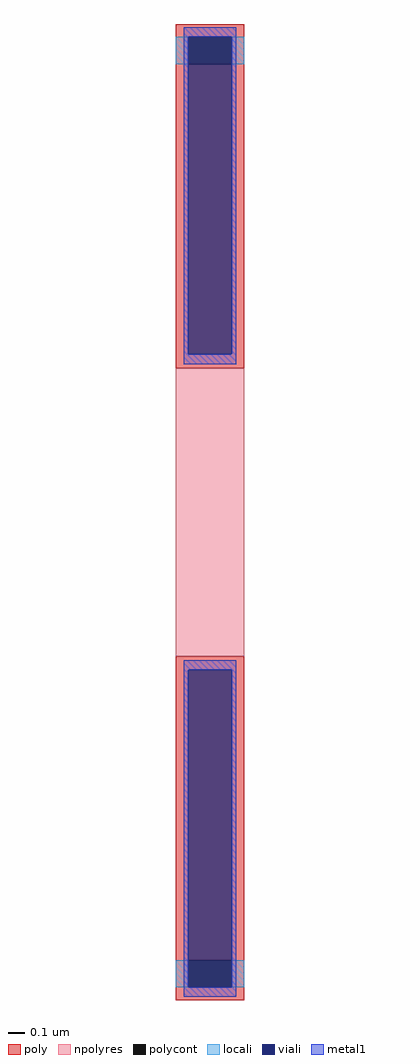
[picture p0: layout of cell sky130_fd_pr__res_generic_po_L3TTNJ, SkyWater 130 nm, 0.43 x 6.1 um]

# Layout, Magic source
magic
tech sky130A
magscale 1 2
<< poly >>
rect -43 594 43 610
rect -43 560 -27 594
rect 27 560 43 594
rect -43 180 43 560
rect -43 -560 43 -180
rect -43 -594 -27 -560
rect 27 -594 43 -560
rect -43 -610 43 -594
<< polycont >>
rect -27 560 27 594
rect -27 -594 27 -560
<< npolyres >>
rect -43 -180 43 180
<< locali >>
rect -43 560 -27 594
rect 27 560 43 594
rect -43 -594 -27 -560
rect 27 -594 43 -560
<< viali >>
rect -27 560 27 594
rect -27 197 27 560
rect -27 -560 27 -197
rect -27 -594 27 -560
<< metal1 >>
rect -33 594 33 606
rect -33 197 -27 594
rect 27 197 33 594
rect -33 185 33 197
rect -33 -197 33 -185
rect -33 -594 -27 -197
rect 27 -594 33 -197
rect -33 -606 33 -594
<< properties >>
string gencell sky130_fd_pr__res_generic_po
string library sky130
string parameters w 0.433 l 1.8 m 1 nx 1 wmin 0.330 lmin 1.650 rho 48.2 val 200.369 dummy 0 dw 0.0 term 0.0 sterm 0.0 caplen 0.4 snake 0 guard 0 glc 0 grc 0 gtc 0 gbc 0 roverlap 0 endcov 100 full_metal 0 hv_guard 0 n_guard 0 vias 1 viagb 0 viagt 0 viagl 0 viagr 0
<< end >>
